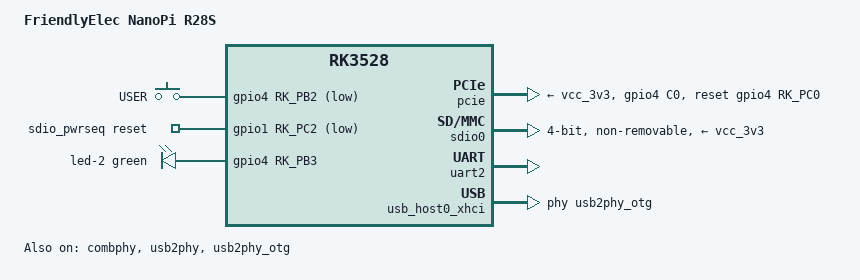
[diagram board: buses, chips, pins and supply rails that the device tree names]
// SPDX-License-Identifier: (GPL-2.0+ OR MIT)
/*
 * Copyright (c) 2022 Rockchip Electronics Co., Ltd.
 * Copyright (c) 2026 FriendlyElec Computer Tech. Co., Ltd.
 * Copyright (c) 2026 安容 <HystericalDragons@proton.me>
 */

/dts-v1/;

#include "rk3528-nanopi.dtsi"

/ {
	model = "FriendlyElec NanoPi R28S";
	compatible = "friendlyarm,nanopi-r28s", "rockchip,rk3528";

	aliases {
		mmc2 = &sdio0;
		serial2 = &uart2;
	};

	gpio-keys {
		compatible = "gpio-keys";
		pinctrl-names = "default";
		pinctrl-0 = <&gpio4_b2_usr_btn>;

		button-user {
			debounce-interval = <50>;
			gpios = <&gpio4 RK_PB2 GPIO_ACTIVE_LOW>;
			label = "USER";
			linux,code = <BTN_1>;
			wakeup-source;
		};
	};

	sdio_pwrseq: sdio-pwrseq {
		compatible = "mmc-pwrseq-simple";
		pinctrl-names = "default";
		pinctrl-0 = <&pwr_wf>;
		post-power-on-delay-ms = <100>;
		reset-gpios = <&gpio1 RK_PC2 GPIO_ACTIVE_LOW>;
	};
};

&combphy {
	status = "okay";
};

&led1 {
	default-state = "off";
	function = LED_FUNCTION_WAN;
	linux,default-trigger = "netdev";
};

&leds {
	pinctrl-names = "default";
	pinctrl-0 = <&led_sys_pin>, <&led1_pin>, <&led2_pin>;

	led-2 {
		color = <LED_COLOR_ID_GREEN>;
		default-state = "off";
		function = LED_FUNCTION_LAN;
		gpios = <&gpio4 RK_PB3 GPIO_ACTIVE_HIGH>;
		linux,default-trigger = "netdev";
	};
};

&pcie {
	pinctrl-names = "default";
	pinctrl-0 = <&pcie_eth_perstb>;
	reset-gpios = <&gpio4 RK_PC0 GPIO_ACTIVE_HIGH>;
	vpcie3v3-supply = <&vcc_3v3>;
	status = "okay";
};

&pinctrl {
	bluetooth {
		bt_wake_host: bt-wake-host {
			rockchip,pins = <1 RK_PB5 RK_FUNC_GPIO &pcfg_pull_down>;
		};

		host_wake_bt: host-wake-bt {
			rockchip,pins = <1 RK_PB4 RK_FUNC_GPIO &pcfg_pull_none>;
		};
	};

	gpio-keys {
		gpio4_b2_usr_btn: gpio4-b2-usr-btn {
			rockchip,pins = <4 RK_PB2 RK_FUNC_GPIO &pcfg_pull_up>;
		};
	};

	leds {
		led2_pin: led2-pin {
			rockchip,pins = <4 RK_PB3 RK_FUNC_GPIO &pcfg_pull_none>;
		};
	};

	pcie {
		pcie_eth_perstb: pcie-eth-perstb {
			rockchip,pins = <4 RK_PC0 RK_FUNC_GPIO &pcfg_pull_none>;
		};
	};

	wifi {
		host_wake_wl: host-wake-wl {
			rockchip,pins = <1 RK_PA6 RK_FUNC_GPIO &pcfg_pull_none>;
		};

		pwr_wf: pwr-wf {
			rockchip,pins = <1 RK_PC2 RK_FUNC_GPIO &pcfg_pull_none>;
		};

		wl_wake_host: wl-wake-host {
			rockchip,pins = <1 RK_PA7 RK_FUNC_GPIO &pcfg_pull_down>;
		};
	};
};

&sdio0 {
	bus-width = <4>;
	cap-sd-highspeed;
	cap-sdio-irq;
	keep-power-in-suspend;
	mmc-pwrseq = <&sdio_pwrseq>;
	no-mmc;
	no-sd;
	non-removable;
	sd-uhs-sdr104;
	vmmc-supply = <&vcc_3v3>;
	vqmmc-supply = <&vcc_1v8>;
	status = "okay";
};

&uart2 {
	dma-names = "tx", "rx";
	pinctrl-names = "default";
	pinctrl-0 = <&uart2m1_xfer>, <&uart2m1_ctsn>, <&uart2m1_rtsn>;
	uart-has-rtscts;
	status = "okay";
};

&usb_host0_xhci {
	/*
	 * The Type-C port is also the 5V power input, so it comes up as a
	 * device, but host mode works with an externally powered hub.
	 */
	extcon = <&usb2phy>;
	maximum-speed = "high-speed";
	phys = <&usb2phy_otg>;
	phy-names = "usb2-phy";
	status = "okay";
};

&usb2phy {
	status = "okay";
};

&usb2phy_otg {
	status = "okay";
};
